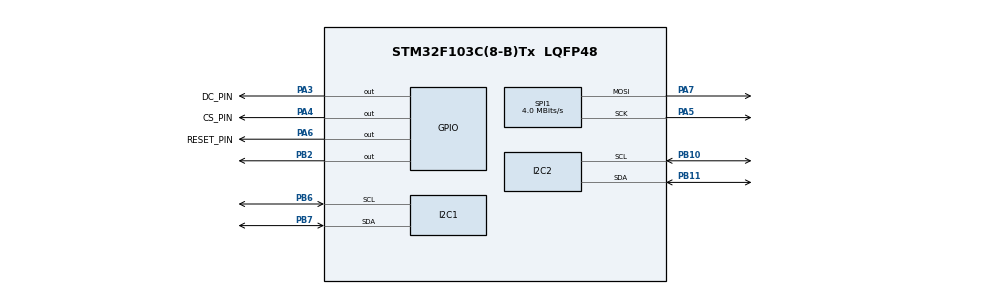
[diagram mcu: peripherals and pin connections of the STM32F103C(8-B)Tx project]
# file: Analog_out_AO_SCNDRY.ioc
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I2C1.OwnAddress=0x12
I2C2.OwnAddress=0x13
Mcu.Family=STM32F1
Mcu.Name=STM32F103C(8-B)Tx
Mcu.Package=LQFP48
NVIC.I2C1_ER_IRQn=true\:0\:0\:false\:false\:true\:true\:true\:true
NVIC.I2C1_EV_IRQn=true\:0\:0\:false\:false\:true\:true\:true\:true
NVIC.I2C2_ER_IRQn=true\:0\:0\:false\:false\:true\:true\:true\:true
NVIC.I2C2_EV_IRQn=true\:0\:0\:false\:false\:true\:true\:true\:true
NVIC.PriorityGroup=NVIC_PRIORITYGROUP_4
PA13.Mode=Serial_Wire
PA13.Signal=SYS_JTMS-SWDIO
PA14.Mode=Serial_Wire
PA14.Signal=SYS_JTCK-SWCLK
PA3.GPIO_Label=DC_PIN
PA3.Signal=GPIO_Output
PA4.GPIO_Label=CS_PIN
PA4.Signal=GPIO_Output
PA5.Mode=TX_Only_Simplex_Unidirect_Master
PA5.Signal=SPI1_SCK
PA6.GPIO_Label=RESET_PIN
PA6.Signal=GPIO_Output
PA7.Mode=TX_Only_Simplex_Unidirect_Master
PA7.Signal=SPI1_MOSI
PB10.Mode=I2C
PB10.Signal=I2C2_SCL
PB11.Mode=I2C
PB11.Signal=I2C2_SDA
PB2.Signal=GPIO_Output
PB6.Mode=I2C
PB6.Signal=I2C1_SCL
PB7.Mode=I2C
PB7.Signal=I2C1_SDA
ProjectManager.HeapSize=0x200
ProjectManager.StackSize=0x400
ProjectManager.TargetToolchain=STM32CubeIDE
RCC.APB1Freq_Value=8000000
RCC.APB2Freq_Value=8000000
SPI1.CalculateBaudRate=4.0 MBits/s
SPI1.Direction=SPI_DIRECTION_2LINES
SPI1.Mode=SPI_MODE_MASTER
SPI1.VirtualType=VM_MASTER
board=custom

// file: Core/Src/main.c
/* USER CODE BEGIN Header */
/**
  ******************************************************************************
  * @file           : main.c
  * @brief          : Main program body
  ******************************************************************************
  * @attention
  *
  * Copyright (c) 2025 STMicroelectronics.
  * All rights reserved.
  *
  * This software is licensed under terms that can be found in the LICENSE file
  * in the root directory of this software component.
  * If no LICENSE file comes with this software, it is provided AS-IS.
  *
  ******************************************************************************
  */
/* USER CODE END Header */
#include "main.h"

/* USER CODE BEGIN Includes */
#include "I2C_Slave.h"

/* USER CODE END Includes */

I2C_HandleTypeDef hi2c1;
I2C_HandleTypeDef hi2c2;

SPI_HandleTypeDef hspi1;

/* USER CODE BEGIN PV */
char displayBuffer_main[4];
char displayBuffer_scndry[4];

uint8_t data_buffer[2];
/* USER CODE END PV */

void SystemClock_Config(void);
static void MX_GPIO_Init(void);
static void MX_I2C1_Init(void);
static void MX_SPI1_Init(void);
static void MX_I2C2_Init(void);

int main(void)
{

  /* MCU Configuration--------------------------------------------------------*/

  /* Reset of all peripherals, Initializes the Flash interface and the Systick. */
  HAL_Init();

  /* Configure the system clock */
  SystemClock_Config();

  /* Initialize all configured peripherals */
  MX_GPIO_Init();
  MX_I2C1_Init();
  MX_SPI1_Init();
  MX_I2C2_Init();
  /* USER CODE BEGIN 2 */
  HAL_I2C_Slave_Transmit_IT(&hi2c2, data_buffer, 2);
  /* USER CODE END 2 */

  /* Infinite loop */
  /* USER CODE BEGIN WHILE */
  while (1)
  {
	  HAL_I2C_EnableListen_IT(&hi2c1);

	  data_buffer[0] = analog_data >> 8;
	  data_buffer[1] = analog_data & 0xFF;

    /* USER CODE END WHILE */

  }
}

void SystemClock_Config(void)
{
  RCC_OscInitTypeDef RCC_OscInitStruct = {0};
  RCC_ClkInitTypeDef RCC_ClkInitStruct = {0};

  /** Initializes the RCC Oscillators according to the specified parameters
  * in the RCC_OscInitTypeDef structure.
  */
  RCC_OscInitStruct.OscillatorType = RCC_OSCILLATORTYPE_HSI;
  RCC_OscInitStruct.HSIState = RCC_HSI_ON;
  RCC_OscInitStruct.HSICalibrationValue = RCC_HSICALIBRATION_DEFAULT;
  RCC_OscInitStruct.PLL.PLLState = RCC_PLL_NONE;
  if (HAL_RCC_OscConfig(&RCC_OscInitStruct) != HAL_OK)
  {
    Error_Handler();
  }

  /** Initializes the CPU, AHB and APB buses clocks
  */
  RCC_ClkInitStruct.ClockType = RCC_CLOCKTYPE_HCLK|RCC_CLOCKTYPE_SYSCLK
                              |RCC_CLOCKTYPE_PCLK1|RCC_CLOCKTYPE_PCLK2;
  RCC_ClkInitStruct.SYSCLKSource = RCC_SYSCLKSOURCE_HSI;
  RCC_ClkInitStruct.AHBCLKDivider = RCC_SYSCLK_DIV1;
  RCC_ClkInitStruct.APB1CLKDivider = RCC_HCLK_DIV1;
  RCC_ClkInitStruct.APB2CLKDivider = RCC_HCLK_DIV1;

  if (HAL_RCC_ClockConfig(&RCC_ClkInitStruct, FLASH_LATENCY_0) != HAL_OK)
  {
    Error_Handler();
  }
}

static void MX_I2C1_Init(void)
{

  hi2c1.Instance = I2C1;
  hi2c1.Init.ClockSpeed = 100000;
  hi2c1.Init.DutyCycle = I2C_DUTYCYCLE_2;
  hi2c1.Init.OwnAddress1 = 36;
  hi2c1.Init.AddressingMode = I2C_ADDRESSINGMODE_7BIT;
  hi2c1.Init.DualAddressMode = I2C_DUALADDRESS_DISABLE;
  hi2c1.Init.OwnAddress2 = 0;
  hi2c1.Init.GeneralCallMode = I2C_GENERALCALL_DISABLE;
  hi2c1.Init.NoStretchMode = I2C_NOSTRETCH_DISABLE;
  if (HAL_I2C_Init(&hi2c1) != HAL_OK)
  {
    Error_Handler();
  }

}

static void MX_I2C2_Init(void)
{

  hi2c2.Instance = I2C2;
  hi2c2.Init.ClockSpeed = 100000;
  hi2c2.Init.DutyCycle = I2C_DUTYCYCLE_2;
  hi2c2.Init.OwnAddress1 = 38;
  hi2c2.Init.AddressingMode = I2C_ADDRESSINGMODE_7BIT;
  hi2c2.Init.DualAddressMode = I2C_DUALADDRESS_DISABLE;
  hi2c2.Init.OwnAddress2 = 0;
  hi2c2.Init.GeneralCallMode = I2C_GENERALCALL_DISABLE;
  hi2c2.Init.NoStretchMode = I2C_NOSTRETCH_DISABLE;
  if (HAL_I2C_Init(&hi2c2) != HAL_OK)
  {
    Error_Handler();
  }

}

static void MX_SPI1_Init(void)
{

  /* SPI1 parameter configuration*/
  hspi1.Instance = SPI1;
  hspi1.Init.Mode = SPI_MODE_MASTER;
  hspi1.Init.Direction = SPI_DIRECTION_2LINES;
  hspi1.Init.DataSize = SPI_DATASIZE_8BIT;
  hspi1.Init.CLKPolarity = SPI_POLARITY_LOW;
  hspi1.Init.CLKPhase = SPI_PHASE_1EDGE;
  hspi1.Init.NSS = SPI_NSS_SOFT;
  hspi1.Init.BaudRatePrescaler = SPI_BAUDRATEPRESCALER_2;
  hspi1.Init.FirstBit = SPI_FIRSTBIT_MSB;
  hspi1.Init.TIMode = SPI_TIMODE_DISABLE;
  hspi1.Init.CRCCalculation = SPI_CRCCALCULATION_DISABLE;
  hspi1.Init.CRCPolynomial = 10;
  if (HAL_SPI_Init(&hspi1) != HAL_OK)
  {
    Error_Handler();
  }

}

static void MX_GPIO_Init(void)
{
  GPIO_InitTypeDef GPIO_InitStruct = {0};

  /* GPIO Ports Clock Enable */
  __HAL_RCC_GPIOA_CLK_ENABLE();
  __HAL_RCC_GPIOB_CLK_ENABLE();

  /*Configure GPIO pin Output Level */
  HAL_GPIO_WritePin(GPIOA, DC_PIN_Pin|CS_PIN_Pin|RESET_PIN_Pin, GPIO_PIN_RESET);

  /*Configure GPIO pin Output Level */
  HAL_GPIO_WritePin(GPIOB, GPIO_PIN_2, GPIO_PIN_RESET);

  /*Configure GPIO pins : DC_PIN_Pin CS_PIN_Pin RESET_PIN_Pin */
  GPIO_InitStruct.Pin = DC_PIN_Pin|CS_PIN_Pin|RESET_PIN_Pin;
  GPIO_InitStruct.Mode = GPIO_MODE_OUTPUT_PP;
  GPIO_InitStruct.Pull = GPIO_NOPULL;
  GPIO_InitStruct.Speed = GPIO_SPEED_FREQ_LOW;
  HAL_GPIO_Init(GPIOA, &GPIO_InitStruct);

  /*Configure GPIO pin : PB2 */
  GPIO_InitStruct.Pin = GPIO_PIN_2;
  GPIO_InitStruct.Mode = GPIO_MODE_OUTPUT_PP;
  GPIO_InitStruct.Pull = GPIO_NOPULL;
  GPIO_InitStruct.Speed = GPIO_SPEED_FREQ_LOW;
  HAL_GPIO_Init(GPIOB, &GPIO_InitStruct);

}

/* USER CODE BEGIN 4 */
void HAL_I2C_SlaveTxCpltCallback(I2C_HandleTypeDef *hi2c){
	if (hi2c->Instance == I2C2)
	{
		HAL_I2C_Slave_Transmit_IT(&hi2c2, data_buffer, 2);
	    //HAL_GPIO_TogglePin(GPIOB, GPIO_PIN_2);
		HAL_GPIO_TogglePin(GPIOC, GPIO_PIN_13);
	}
}

void HAL_I2C_ErrorCallback(I2C_HandleTypeDef *hi2c)
{
	if(hi2c->Instance == I2C1){
		HAL_I2C_DeInit(&hi2c1);
		HAL_Delay(10);
		HAL_I2C_Init(&hi2c1);
		HAL_I2C_EnableListen_IT(&hi2c1);
	}

	else if (hi2c->Instance == I2C2)
    {
    	HAL_I2C_Slave_Transmit_IT(&hi2c2, data_buffer, 2);;
    }
}
/* USER CODE END 4 */

void Error_Handler(void)
{
  __disable_irq();
  while (1)
  {
  }
}
